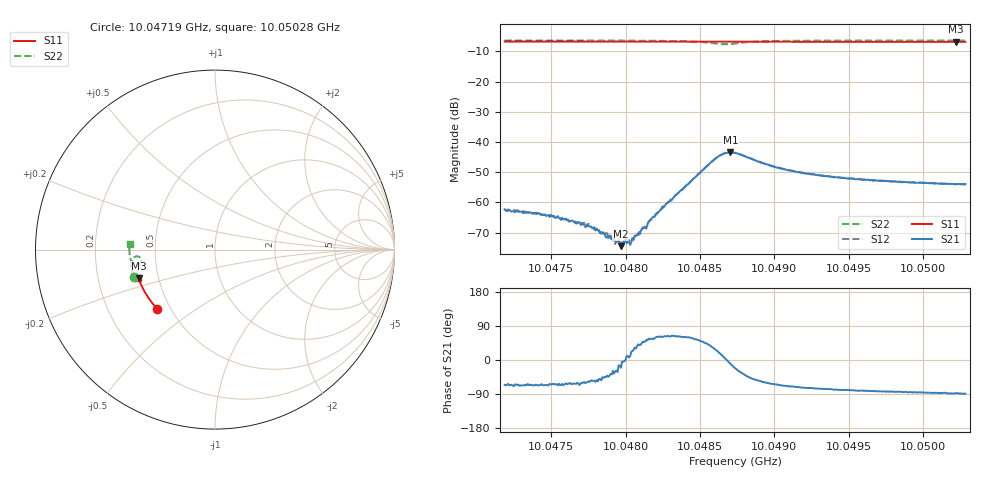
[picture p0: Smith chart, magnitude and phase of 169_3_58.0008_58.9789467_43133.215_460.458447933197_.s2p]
#  HZ  S  RI  R  50.00
! Rohde & Schwarz Vector Network Analyzer
! Rohde-Schwarz,ZNB20-2Port,1311601062101988,3.16
! Created: UTC 3/21/2024, 12:57:52 AM
! freq[Hz]  re:S11  im:S11  re:S21  im:S21  re:S12  im:S12  re:S22  im:S22
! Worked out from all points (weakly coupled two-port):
!   401 points, 10.04719 GHz to 10.05028 GHz, reference 50 ohm
!   highest |S21| = -43.41 dB at 10.0487 GHz (marker M1); lowest = -74.5 dB at 10.04797 GHz (marker M2)
!   lowest |S11| = -6.8 dB at 10.05022 GHz (marker M3), VSWR 2.67, Z = 19.3 - j7.74 ohm
!   |S11| at or under -10 dB: nowhere
!   |S22| runs from -7.7 to -6.4 dB; largest |S21 - S12| = 0.00048
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1.0047186e10  -0.3222 -0.3288  0.000316 -0.000701  0.000356 -0.000657  -0.4537 -0.1541
1.0047488e10  -0.3357 -0.314  0.000259 -0.000513  0.000271 -0.000554  -0.4593 -0.1337
1.0047705e10  -0.345 -0.3031  0.000211 -0.000371  0.000237 -0.000379  -0.4628 -0.1181
1.0047806e10  -0.3492 -0.298  0.000223 -0.000294  0.000213 -0.000286  -0.4641 -0.111
1.004786e10  -0.3515 -0.295  0.000209 -0.000206  0.000244 -0.000199  -0.4648 -0.1067
1.004793e10  -0.3543 -0.2915  0.000201 -0.000115  0.000189 -8e-05  -0.4657 -0.1011
1.0047968e10  -0.356 -0.2894  0.000177 -6.61e-05  0.000194 -4.76e-05  -0.466 -0.0981
1.0048038e10  -0.3587 -0.2857  0.000203 8.17e-05  0.000189 0.000117  -0.4665 -0.0923
1.0048061e10  -0.3595 -0.2845  0.000238 0.000155  0.000218 0.000157  -0.4666 -0.0902
1.0048085e10  -0.3605 -0.2832  0.000218 0.000194  0.000217 0.000228  -0.4667 -0.0883
1.0048131e10  -0.3623 -0.2808  0.000261 0.000298  0.000228 0.000305  -0.4668 -0.0841
1.004817e10  -0.364 -0.2787  0.000298 0.00044  0.000268 0.000449  -0.4668 -0.0807
1.0048224e10  -0.366 -0.2758  0.000333 0.000622  0.000308 0.000658  -0.4664 -0.0753
1.0048588e10  -0.379 -0.2555  0.00413 0.00262  0.004 0.00292  -0.4294 -0.0378
1.004865e10  -0.3809 -0.2522  0.00614 0.00125  0.00611 0.00159  -0.4126 -0.0505
1.0048704e10  -0.3827 -0.2495  0.00665 -0.00118  0.00672 -0.000775  -0.4117 -0.0709
1.0048735e10  -0.3839 -0.2477  0.00615 -0.0024  0.00635 -0.00198  -0.4185 -0.0801
1.0048999e10  -0.393 -0.233  0.0017 -0.00349  0.00192 -0.00344  -0.4645 -0.0673
1.0049254e10  -0.4011 -0.2181  0.000801 -0.00282  0.000959 -0.00277  -0.4732 -0.0424
1.0049773e10  -0.4155 -0.187  0.000272 -0.00223  0.000422 -0.00222  -0.4768 -0.00183
1.0050222e10  -0.426 -0.1593  8.86e-05 -0.00199  0.000176 -0.00201  -0.4759 0.0296
1.0050284e10  -0.4274 -0.1556  2.95e-05 -0.00202  0.000158 -0.00198  -0.4756 0.0339
